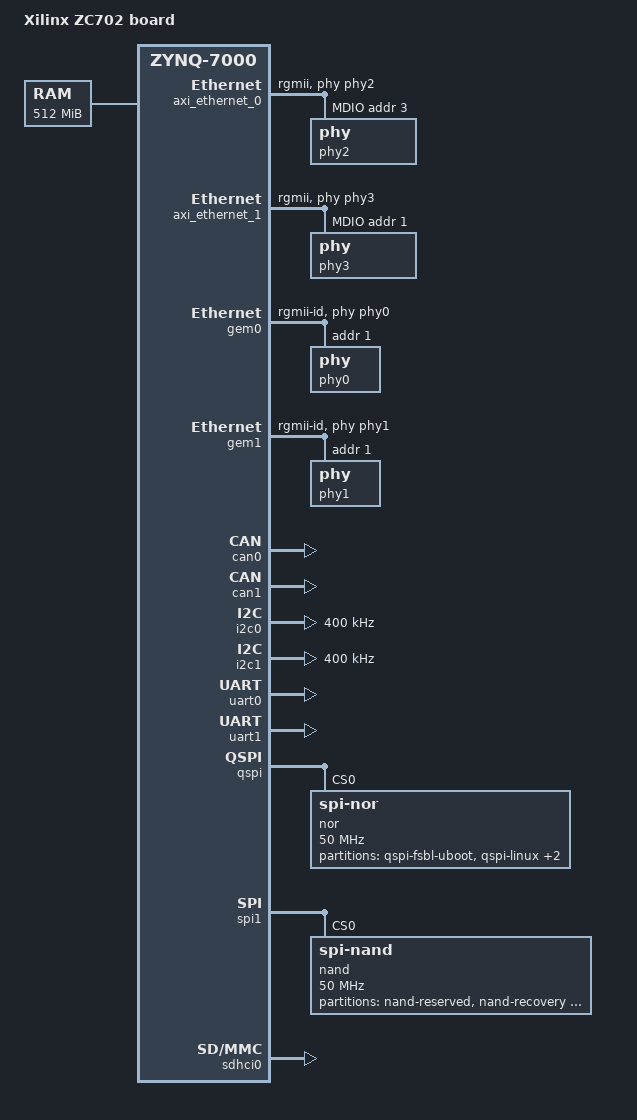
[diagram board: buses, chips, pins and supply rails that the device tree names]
// SPDX-License-Identifier: GPL-2.0+
/*
 *  Copyright (C) 2011 - 2015 Xilinx
 *  Copyright (C) 2012 National Instruments Corp.
 */
/dts-v1/;
#include "zynq-7000.dtsi"
#include <dt-bindings/gpio/gpio.h>

/ {
	model = "Xilinx ZC702 board";
	compatible = "xlnx,zynq-zc702", "xlnx,zynq-7000";

	aliases {
		ethernet0 = &gem0;
		ethernet1 = &gem1;
		ethernet2 = &axi_ethernet_0;
		ethernet3 = &axi_ethernet_1;
		i2c0 = &i2c0;
		i2c1 = &i2c1;
		serial0 = &uart0;
		serial1 = &uart1;
		spi0 = &qspi;
		spi1 = &spi1;
	};

	memory@0 {
		device_type = "memory";
		reg = <0x0 0x20000000>;
	};

	chosen {
		bootargs = "console=ttyPS0,115200 root=/dev/ram rw earlyprintk";
		stdout-path = "serial0:115200n8";
	};

	amba_pl: amba_pl {
		#address-cells = <1>;
		#size-cells = <1>;
		compatible = "simple-bus";
		ranges ;
		axi_ethernet_0: ethernet@41000000 {
			axistream-connected = <&axi_ethernet_0_dma>;
			axistream-control-connected = <&axi_ethernet_0_dma>;
			clock-frequency = <100000000>;
			clock-names = "s_axi_lite_clk", "axis_clk", "gtx_clk", "ref_clk";
			clocks = <&clkc 15>, <&clkc 15>, <&clkc 16>, <&clkc 17>;
			compatible = "xlnx,axi-ethernet-7.2", "xlnx,axi-ethernet-1.00.a";
			device_type = "network";
			interrupt-names = "mac_irq", "interrupt", "mm2s_introut", "s2mm_introut";
			interrupt-parent = <&intc>;
			interrupts = <0 33 1 0 34 4 0 35 4 0 36 4>;
			local-mac-address = [00 0a 35 00 00 02];
			phy-mode = "rgmii";
			reg = <0x41000000 0x40000>;
			xlnx = <0x0>;
			xlnx,axiliteclkrate = <0x0>;
			xlnx,axisclkrate = <0x0>;
			xlnx,channel-ids = "1";
			xlnx,clockselection = <0x0>;
			xlnx,enableasyncsgmii = <0x0>;
			xlnx,gt-type = <0x0>;
			xlnx,gtinex = <0x0>;
			xlnx,gtlocation = <0x0>;
			xlnx,gtrefclksrc = <0x0>;
			xlnx,include-dre ;
			xlnx,instantiatebitslice0 = <0x0>;
			xlnx,num-queues = /bits/ 16 <0x1>;
			xlnx,phyaddr = <0x1>;
			xlnx,phyrst-board-interface-dummy-port = <0x0>;
			xlnx,rable = <0x0>;
			xlnx,rxcsum = <0x0>;
			xlnx,rxlane0-placement = <0x0>;
			xlnx,rxlane1-placement = <0x0>;
			xlnx,rxmem = <0x1000>;
			xlnx,rxnibblebitslice0used = <0x0>;
			xlnx,tx-in-upper-nibble = <0x1>;
			xlnx,txcsum = <0x0>;
			xlnx,txlane0-placement = <0x0>;
			xlnx,txlane1-placement = <0x0>;
			xlnx,versal-gt-board-flow = <0x0>;
			zclock-names = "NULL";
			zclocks = "NULL";
			phy-handle = <&phy2>;
			axi_ethernet_0_mdio: mdio {
				#address-cells = <1>;
				#size-cells = <0>;
				phy2: phy@3 {
					device_type = "ethernet-phy";
					reg = <3>;
				};
			};
		};

		axi_ethernet_0_dma: dma@40400000 {
			#dma-cells = <1>;
			axistream-connected = <&axi_ethernet_0>;
			axistream-control-connected = <&axi_ethernet_0>;
			clock-names = "s_axi_lite_aclk", "m_axi_sg_aclk", "m_axi_mm2s_aclk", "m_axi_s2mm_aclk";
			clocks = <&clkc 15>, <&clkc 15>, <&clkc 15>, <&clkc 15>;
			compatible = "xlnx,eth-dma";
			interrupt-names = "mm2s_introut", "s2mm_introut";
			interrupt-parent = <&intc>;
			interrupts = <0 35 4 0 36 4>;
			reg = <0x40400000 0x10000>;
			xlnx,addrwidth = /bits/ 8 <0x20>;
			xlnx,include-dre ;
			xlnx,num-queues = /bits/ 16 <0x1>;
		};

		axi_ethernet_1: ethernet@41040000 {
			axistream-connected = <&axi_ethernet_1_dma>;
			axistream-control-connected = <&axi_ethernet_1_dma>;
			clock-frequency = <100000000>;
			clock-names = "s_axi_lite_clk", "axis_clk", "gtx_clk", "gtx_clk90";
			clocks = <&clkc 15>, <&clkc 15>, <&misc_clk_0>, <&misc_clk_0>;
			compatible = "xlnx,axi-ethernet-7.2", "xlnx,axi-ethernet-1.00.a";
			device_type = "network";
			interrupt-names = "mac_irq", "interrupt", "mm2s_introut", "s2mm_introut";
			interrupt-parent = <&intc>;
			interrupts = <0 52 1 0 53 4 0 54 4 0 55 4>;
			local-mac-address = [00 0a 35 00 00 03];
			phy-mode = "rgmii";
			reg = <0x41040000 0x40000>;
			xlnx = <0x0>;
			xlnx,axiliteclkrate = <0x0>;
			xlnx,axisclkrate = <0x0>;
			xlnx,channel-ids = "1";
			xlnx,clockselection = <0x0>;
			xlnx,enableasyncsgmii = <0x0>;
			xlnx,gt-type = <0x0>;
			xlnx,gtinex = <0x0>;
			xlnx,gtlocation = <0x0>;
			xlnx,gtrefclksrc = <0x0>;
			xlnx,include-dre ;
			xlnx,instantiatebitslice0 = <0x0>;
			xlnx,num-queues = /bits/ 16 <0x1>;
			xlnx,phyaddr = <0x1>;
			xlnx,phyrst-board-interface-dummy-port = <0x0>;
			xlnx,rable = <0x0>;
			xlnx,rxcsum = <0x0>;
			xlnx,rxlane0-placement = <0x0>;
			xlnx,rxlane1-placement = <0x0>;
			xlnx,rxmem = <0x1000>;
			xlnx,rxnibblebitslice0used = <0x0>;
			xlnx,tx-in-upper-nibble = <0x1>;
			xlnx,txcsum = <0x0>;
			xlnx,txlane0-placement = <0x0>;
			xlnx,txlane1-placement = <0x0>;
			xlnx,versal-gt-board-flow = <0x0>;
			zclock-names = "NULL";
			zclocks = "NULL";
			phy-handle = <&phy3>;
			axi_ethernet_1_mdio: mdio {
				#address-cells = <1>;
				#size-cells = <0>;
				phy3: phy@1 {
					device_type = "ethernet-phy";
					reg = <1>;
				};
			};
		};

		misc_clk_0: misc_clk_0 {
			#clock-cells = <0>;
			clock-frequency = <125000000>;
			compatible = "fixed-clock";
		};

		axi_ethernet_1_dma: dma@40410000 {
			#dma-cells = <1>;
			axistream-connected = <&axi_ethernet_1>;
			axistream-control-connected = <&axi_ethernet_1>;
			clock-names = "s_axi_lite_aclk", "m_axi_sg_aclk", "m_axi_mm2s_aclk", "m_axi_s2mm_aclk";
			clocks = <&clkc 15>, <&clkc 15>, <&clkc 15>, <&clkc 15>;
			compatible = "xlnx,eth-dma";
			interrupt-names = "mm2s_introut", "s2mm_introut";
			interrupt-parent = <&intc>;
			interrupts = <0 54 4 0 55 4>;
			reg = <0x40410000 0x10000>;
			xlnx,addrwidth = /bits/ 8 <0x20>;
			xlnx,include-dre ;
			xlnx,num-queues = /bits/ 16 <0x1>;
		};

		axi_gpio_0: gpio@41200000 {
			#gpio-cells = <2>;
			#interrupt-cells = <2>;
			clock-names = "s_axi_aclk";
			clocks = <&clkc 15>;
			compatible = "xlnx,axi-gpio-2.0", "xlnx,xps-gpio-1.00.a";
			gpio-controller ;
			interrupt-controller ;
			interrupt-names = "ip2intc_irpt";
			interrupt-parent = <&intc>;
			interrupts = <0 56 4>;
			reg = <0x41200000 0x10000>;
			xlnx,all-inputs = <0x1>;
			xlnx,all-inputs-2 = <0x0>;
			xlnx,all-outputs = <0x0>;
			xlnx,all-outputs-2 = <0x1>;
			xlnx,dout-default = <0x00000000>;
			xlnx,dout-default-2 = <0xFFFFFFFF>;
			xlnx,gpio-width = <0x2>;
			xlnx,gpio2-width = <0x4>;
			xlnx,interrupt-present = <0x1>;
			xlnx,is-dual = <0x1>;
			xlnx,tri-default = <0xFFFFFFFF>;
			xlnx,tri-default-2 = <0xFFFFFFFF>;
		};
	};
};

&gem0 {
	phy-mode = "rgmii-id";
	status = "okay";
	phy-handle = <&phy0>;

	local-mac-address = [00 0a 35 00 00 00];

	phy0: phy@1 {
		reg = <1>;
		device_type = "ethernet-phy";
	};
};

&gem1 {
	phy-mode = "rgmii-id";
	phy-handle = <&phy1>;
	status = "okay";

	local-mac-address = [00 0a 35 00 00 01];

	phy1: phy@1 {
		reg = <1>;
		device_type = "ethernet-phy";
	};
};

&gpio0 {
	emio-gpio-width = <64>;
	gpio-mask-high = <0x0>;
	gpio-mask-low = <0x5600>;
};

&can0 {
	status = "okay";
};

&can1 {
	status = "okay";
};

&i2c0 {
	clock-frequency = <400000>;
	status = "okay";
};

&i2c1 {
	clock-frequency = <400000>;
	status = "okay";
};

&uart0 {
	cts-override ;
	device_type = "serial";
	port-number = <0>;
	status = "okay";
};

&uart1 {
	cts-override ;
	device_type = "serial";
	port-number = <1>;
	status = "okay";
};

&intc {
	num_cpus = <2>;
	num_interrupts = <96>;
};

&qspi {
	u-boot,dm-pre-reloc;
	is-dual = <0>;
	num-cs = <1>;
	status = "okay";

	nor: flash@0 {

		spi-tx-bus-width = <4>;
		spi-rx-bus-width = <4>;

		spi-max-frequency = <50000000>;

		/* MX66L51235F, 512M-bit = 32M-Byte */

		compatible = "jedec,spi-nor";
		reg = <0>;

		#address-cells = <1>;
		#size-cells = <1>;

		/* 8MB, fsbl, bitstream, u-boot*/
		partition@0 {
			label = "qspi-fsbl-uboot";
			reg = <0x0 0x800000>;
		};

		/* 10MB, linux*/
		partition@800000 {
			label = "qspi-linux";
			reg = <0x800000 0xA00000>;
		};

		/* 256KB, device-tree */
		partition@1200000 {
			label = "qspi-device-tree";
			reg = <0x1200000 0x40000>;
		};

		/* 13MB 768KB, rootfs.cpio.uboot */
		partition@1240000 {
			label = "qspi-rootfs";
			reg = <0x1240000 0xDC0000>;
		};
	};
};

&spi1 {
	is-decoded-cs = <0>;
	num-cs = <1>;
	status = "okay";

	nand: flash@0 {
		status = "okay";

		compatible = "spi-nand";
		reg = <0>;
		spi-max-frequency = <50000000>;

		/* W25M02GW, 2x1G-bit = 2x128M-Byte */

		#address-cells = <1>;
		#size-cells = <1>;

		/* 16MB */
		partition@0 {
			label = "nand-reserved";
			reg = <0 0x1000000>;
		};

		/* recovery / install environment, 80MB */
		partition@1000000 {
			label = "nand-recovery";
			reg = <0x1000000 0x5000000>;
		};

		/* ubia (first image) - a/b names to prevent confusion with ubi0/1/etc, 80MB */
		partition@6000000 {
			label = "ubia";
			reg = <0x6000000 0x5000000>;
		};

		/* ubib (second image), 80MB */
		partition@B000000 {
			label = "ubib";
			reg = <0xB000000 0x5000000>;
		};

	};
};

&sdhci0 {
	status = "okay";
	xlnx,has-cd = <0x0>;
	xlnx,has-power = <0x0>;
	xlnx,has-wp = <0x0>;
};

&clkc {
	fclk-enable = <0x7>;
	ps-clk-frequency = <33333333>;
};

